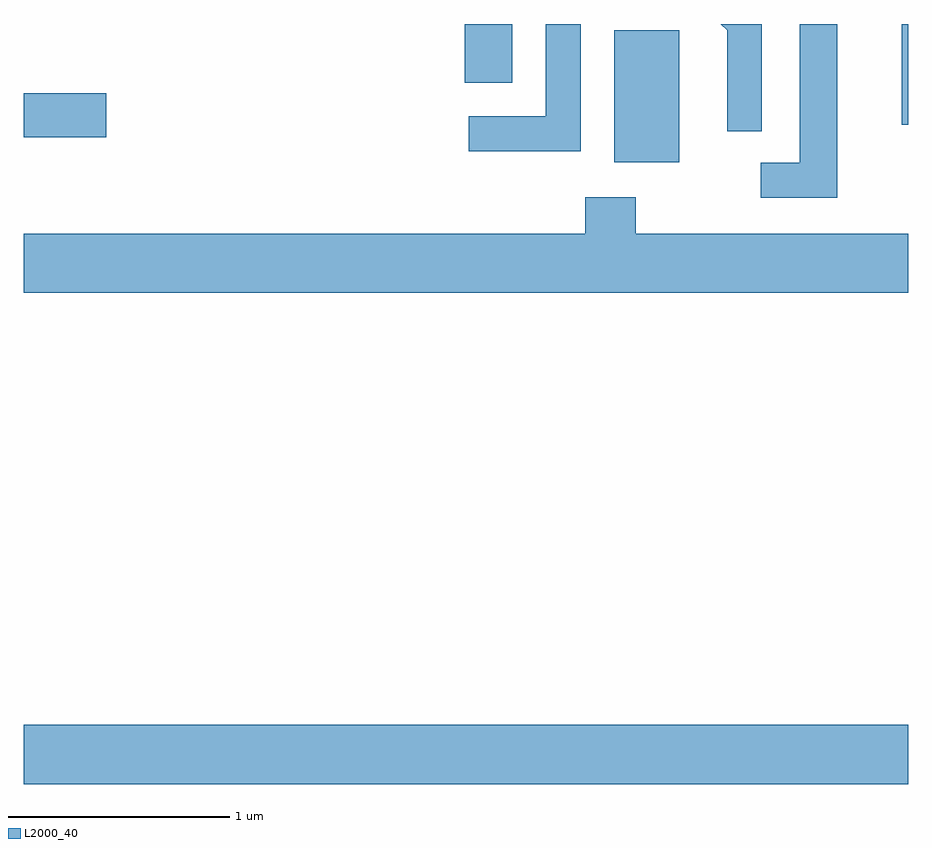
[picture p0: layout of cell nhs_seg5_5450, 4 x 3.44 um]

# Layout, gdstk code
import gdstk
lib = gdstk.Library(unit=1e-6, precision=1e-09)
def R(c, l, rs):  # rectangles x0, y0, x1, y1
    for r in rs: c.add(gdstk.rectangle(r[:2], r[2:], *l))
def P(c, l, *ps):  # polygons
    for p in ps: c.add(gdstk.Polygon(p, *l))
L2000_40 = (2000, 40)

nhs_seg5_5450 = lib.new_cell('nhs_seg5_5450')
R(nhs_seg5_5450, L2000_40, [(347.611,1394.636,351.611,1394.904), (350.281,1397.446,350.574,1398.044), (347.611,1397.561,347.984,1397.759), (351.581,1397.616,351.611,1398.072), (349.606,1397.806,349.819,1398.072)])
P(nhs_seg5_5450, L2000_40, [(351.289,1398.072),(351.121,1398.072),(351.121,1397.444),(350.943,1397.444),(350.943,1397.286),(351.289,1397.286)],
  [(350.129,1398.072),(349.971,1398.072),(349.971,1397.654),(349.623,1397.654),(349.623,1397.496),(350.129,1397.496)],
  [(350.949,1398.072),(350.763,1398.072),(350.791,1398.044),(350.791,1397.588),(350.949,1397.588)],
  [(351.611,1397.124),(350.379,1397.124),(350.379,1397.289),(350.151,1397.289),(350.151,1397.124),(347.611,1397.124),(347.611,1396.856),(351.611,1396.856)])

lib.write_gds('nhs_seg5_5450.gds')
